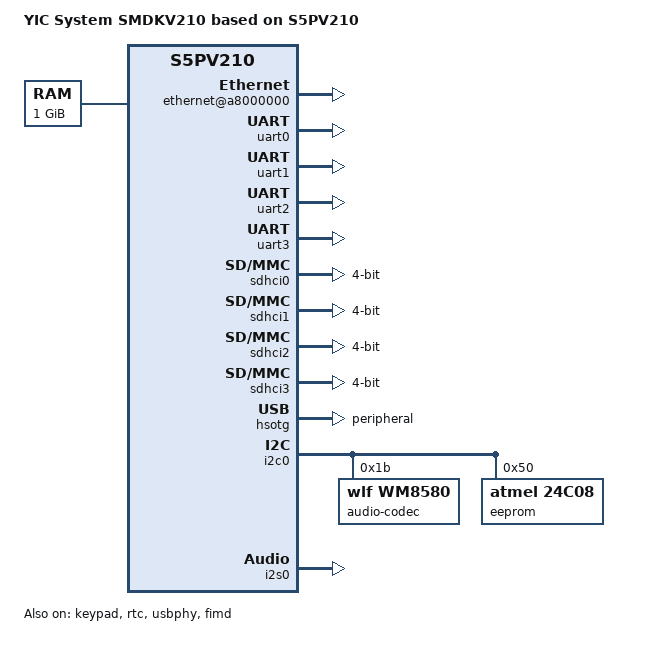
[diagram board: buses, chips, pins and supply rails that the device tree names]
/* bench 27237.1.0 cc62ffff8a26 */
/* bench 27237.1.1 4ba8fe327e9d */
/* bench 27237.1.2 9a783a08d85b */
/* bench 27237.1.3 ee14b3203fcb */
/* bench 27237.1.4 f76f34543727 */
/* bench 27237.1.5 b3e3290ca5f8 */
/* bench 27237.1.6 8900a302edd6 */
/* bench 27237.1.7 47b7633aa5e7 */
/* bench 27237.1.8 5d7435a31729 */
/* bench 27237.1.9 1b5c3cf5d4d4 */
/* bench 27237.1.10 292180ed58bd */
/*
 * Samsung's S5PV210 SoC device tree source
 *
 * Copyright (c) 2013-2014 Samsung Electronics, Co. Ltd.
 *
 * Mateusz Krawczuk <m.krawczuk@partner.samsung.com>
 * Tomasz Figa <t.figa@samsung.com>
 *
 * Board device tree source for YIC System SMDV210 board.
 *
 * NOTE: This file is completely based on original board file for mach-smdkv210
 * available in Linux 3.15 and intends to provide equivalent level of hardware
 * support. Due to lack of hardware, _no_ testing has been performed.
 */

/dts-v1/;
#include <dt-bindings/interrupt-controller/irq.h>
#include <dt-bindings/input/input.h>
#include "s5pv210.dtsi"

/ {
	model = "YIC System SMDKV210 based on S5PV210";
	compatible = "yic,smdkv210", "samsung,s5pv210";

	chosen {
		bootargs = "console=ttySAC0,115200n8 root=/dev/mmcblk0p1 rw rootwait ignore_loglevel earlyprintk";
	};

	memory@20000000 {
		device_type = "memory";
		reg = <0x20000000 0x40000000>;
	};

	pmic_ap_clk: clock-0 {
		/* Workaround for missing PMIC and its clock */
		compatible = "fixed-clock";
		#clock-cells = <0>;
		clock-frequency = <32768>;
	};

	ethernet@a8000000 {
		compatible = "davicom,dm9000";
		reg = <0xA8000000 0x2 0xA8000002 0x2>;
		interrupt-parent = <&gph1>;
		interrupts = <1 IRQ_TYPE_LEVEL_HIGH>;
		local-mac-address = [00 00 de ad be ef];
		davicom,no-eeprom;
/* bench 1664.1.0 be61e340fc09 */
/* bench 1664.1.1 f4ddbf79652b */
/* bench 1664.1.2 4107a1c8a2bc */
/* bench 1664.1.3 b64fc1720080 */
/* bench 1664.1.4 0a1289e75b6a */
/* bench 1664.1.5 6afa5f6cf196 */
/* bench 1664.1.6 f11b13eb046c */
/* bench 1664.1.7 4f0c542e73a1 */
/* bench 1664.1.8 1f232754135d */
		compatible = "pwm-backlight";
		pwms = <&pwm 3 5000000 0>;
		brightness-levels = <0 4 8 16 32 64 128 255>;
		default-brightness-level = <6>;
		pinctrl-names = "default";
		pinctrl-0 = <&pwm3_out>;
	};
};

&xusbxti {
	clock-frequency = <24000000>;
};

&keypad {
	linux,input-no-autorepeat;
	wakeup-source;
	samsung,keypad-num-rows = <8>;
	samsung,keypad-num-columns = <8>;
	pinctrl-names = "default";
	pinctrl-0 = <&keypad_row0>, <&keypad_row1>, <&keypad_row2>,
			<&keypad_row3>, <&keypad_row4>, <&keypad_row5>,
			<&keypad_row6>, <&keypad_row7>,
			<&keypad_col0>, <&keypad_col1>, <&keypad_col2>,
			<&keypad_col3>, <&keypad_col4>, <&keypad_col5>,
			<&keypad_col6>, <&keypad_col7>;
	status = "okay";

	key-1 {
		keypad,row = <0>;
		keypad,column = <3>;
		linux,code = <KEY_1>;
	};

	key-2 {
		keypad,row = <0>;
		keypad,column = <4>;
		linux,code = <KEY_2>;
	};

	key-3 {
		keypad,row = <0>;
		keypad,column = <5>;
		linux,code = <KEY_3>;
	};

	key-4 {
		keypad,row = <0>;
		keypad,column = <6>;
		linux,code = <KEY_4>;
	};

	key-5 {
		keypad,row = <0
		>;
		keypad,column = <7>;
		linux,code = <KEY_5>;
	};

	key-6 {
		keypad,row = <1>;
		keypad,column = <3>;
		linux,code = <KEY_A>;
	};
	key-7 {
		keypad,row = <1>;
		keypad,column = <4>;
		linux,code = <KEY_B>;
	};

	key-8 {
		keypad,row = <1>;
		keypad,column = <5>;
		linux,code = <KEY_C>;
	};

	key-9 {
		keypad,row = <1>;
		keypad,column = <6>;
		linux,code = <KEY_D>;
	};

	key-10 {
		keypad,row = <1>;
		keypad,column = <7>;
		linux,code = <KEY_E>;
	};
};

&uart0 {
	status = "okay";
};

&uart1 {
	status = "okay";
};

&uart2 {
	status = "okay";
};

&uart3 {
	status = "okay";
};

&rtc {
	status = "okay";
	clocks = <&clocks CLK_RTC>, <&pmic_ap_clk>;
	clock-names = "rtc", "rtc_src";
};

&sdhci0 {
	bus-width = <4>;
	pinctrl-0 = <&sd0_clk &sd0_cmd &sd0_cd &sd0_bus1 &sd0_bus4>;
	pinctrl-names = "default";
	status = "okay";
};

&sdhci1 {
	bus-width = <4>;
	pinctrl-0 = <&sd1_clk &sd1_cmd &sd1_cd &sd1_bus1 &sd1_bus4>;
	pinctrl-names = "default";
	status = "okay";
};

&sdhci2 {
	bus-width = <4>;
	pinctrl-0 = <&sd2_clk &sd2_cmd &sd2_cd &sd2_bus1 &sd2_bus4>;
	pinctrl-names = "default";
	status = "okay";
};

&sdhci3 {
	bus-width = <4>;
	pinctrl-0 = <&sd3_clk &sd3_cmd &sd3_cd &sd3_bus1 &sd3_bus4>;
	pinctrl-names = "default";
	status = "okay";
};

&hsotg {
	dr_mode = "peripheral";
	status = "okay";
};

&usbphy {
	status = "okay";
};

&fimd {
	pinctrl-0 = <&lcd_clk &lcd_data24>;
	pinctrl-names = "default";
	status = "okay";
/* bench 18890.0.0 51a7fbf00d0d */
/* bench 18890.0.1 e3d45830ec5f */
/* bench 18890.0.2 1aa259dc939c */
/* bench 18890.0.3 476c65e9ceb7 */
/* bench 18890.0.4 b20d82cdab34 */
/* bench 18890.0.5 ff6b8facff66 */
/* bench 18890.0.6 603b6cb6695d */
	display-timings {
		native-mode = <&timing0>;

		timing0: timing {
			/* 800x480@60Hz */
			clock-frequency = <24373920>;
			hactive = <800>;
			vactive = <480>;
			hfront-porch = <8>;
			hback-porch = <13>;
			hsync-len = <3>;
			vback-porch = <7>;
			vfront-porch = <5>;
			vsync-len = <1>;
			hsync-active = <0>;
			vsync-active = <0>;
			de-active = <1>;
			pixelclk-active = <1>;
		};
	};
};

&pwm {
	samsung,pwm-outputs = <3>;
};

&i2c0 {
	status = "okay";

	audio-codec@1b {
		compatible = "wlf,wm8580";
		reg = <0x1b>;
	};

	eeprom@50 {
		compatible = "atmel,24c08";
		reg = <0x50>;
	};
};

&i2s0 {
	status = "okay";
};
